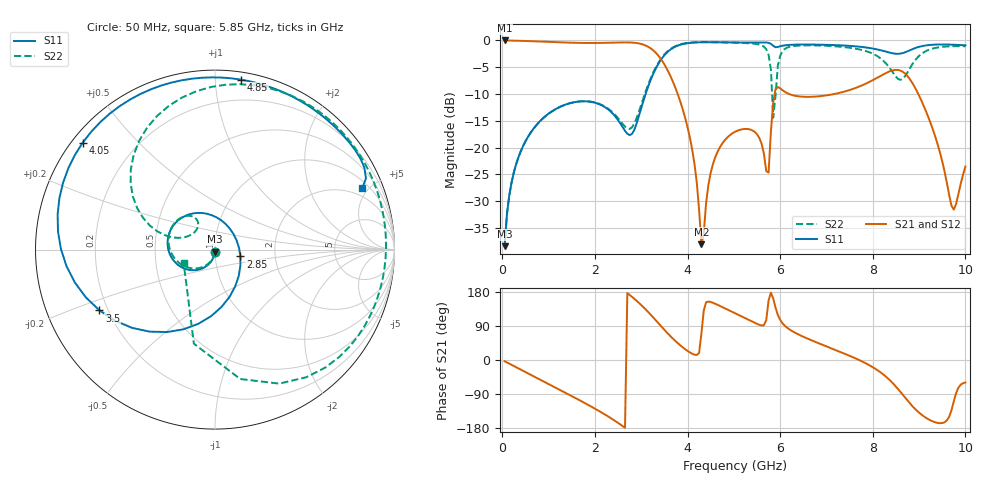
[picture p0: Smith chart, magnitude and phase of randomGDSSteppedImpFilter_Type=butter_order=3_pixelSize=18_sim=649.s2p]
! freq	dB(S11)	phase(S11)	dB(S12)	phase(S12)
!  dB(S21)	phase(S21)	dB(S22)	phase(S22)
!S-par simulation data
#  GHz  S  DB  R 50
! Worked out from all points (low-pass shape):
!   200 points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, 50 MHz to 10 GHz, reference 50 ohm
!   highest |S21| = -0.01 dB at 50 MHz (marker M1); lowest = -38.0 dB at 4.3 GHz (marker M2)
!   |S21| within 3 dB of the highest: start of sweep to 3.385 GHz
!   lowest |S11| = -38.4 dB at 50 MHz (marker M3), VSWR 1.02, Z = 49.9 - j1.21 ohm
!   |S11| at or under -10 dB: start of sweep to 3.095 GHz
!   |S22| runs from -38.4 to -0.3 dB; largest |S21 - S12| = 0
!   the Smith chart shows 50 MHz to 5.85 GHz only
!   S11 on the Smith chart (normalised r, x): 50 MHz: 1.00, -0.02; 2.85 GHz: 1.32, -0.10; 3.5 GHz: 0.17, -0.24; 4.05 GHz: 0.03, +0.35; 4.85 GHz: 0.05, +1.16; 5.85 GHz: 1.38, +4.58
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0.05  -38.36 -92.1  -0.01 -3.2  -0.01 -3.2  -38.37 -92.5
0.5  -18.82 -120.6  -0.10 -31.9  -0.10 -31.9  -18.82 -124.0
1.75  -11.35 160.9  -0.47 -111.5  -0.47 -111.5  -11.33 154.9
2.85  -16.68 -15.1  -0.44 161.7  -0.44 161.7  -15.52 153.6
3.4  -3.94 -136.7  -3.17 93.2  -3.17 93.2  -3.77 136.4
3.5  -2.76 -152.3  -4.47 79.6  -4.47 79.6  -2.63 124.9
4.05  -0.47 141.1  -18.10 20.0  -18.10 20.0  -0.41 67.6
4.3  -0.35 119.4  -38.02 70.7  -38.02 70.7  -0.31 47.4
4.85  -0.37 81.3  -18.18 133.8  -18.18 133.8  -0.38 9.8
5.05  -0.39 69.3  -16.94 122.0  -16.94 122.0  -0.43 -3.0
5.7  -0.39 32.2  -24.38 105.4  -24.38 105.4  -1.64 -64.4
5.85  -1.01 22.7  -11.54 162.4  -11.54 162.4  -14.42 -156.7
5.9  -1.27 22.4  -9.11 138.3  -9.11 138.3  -10.31 52.3
6.05  -0.99 18.7  -9.27 97.1  -9.27 97.1  -2.02 -11.4
6.7  -0.77 -10.2  -10.50 50.8  -10.50 50.8  -0.92 -64.6
7.65  -1.12 -47.9  -8.80 3.1  -8.80 3.1  -1.57 -117.4
8.35  -2.24 -69.9  -5.82 -51.1  -5.82 -51.1  -4.97 161.9
8.6  -2.45 -71.7  -5.64 -84.7  -5.64 -84.7  -7.35 80.4
8.9  -1.48 -77.2  -8.61 -127.5  -8.61 -127.5  -3.86 -19.6
9.25  -0.83 -91.3  -15.46 -159.5  -15.46 -159.5  -1.63 -73.7
9.75  -0.80 -111.7  -31.55 -108.8  -31.55 -108.8  -1.07 -114.6
10  -0.92 -122.0  -23.52 -59.4  -23.52 -59.4  -1.09 -130.2
